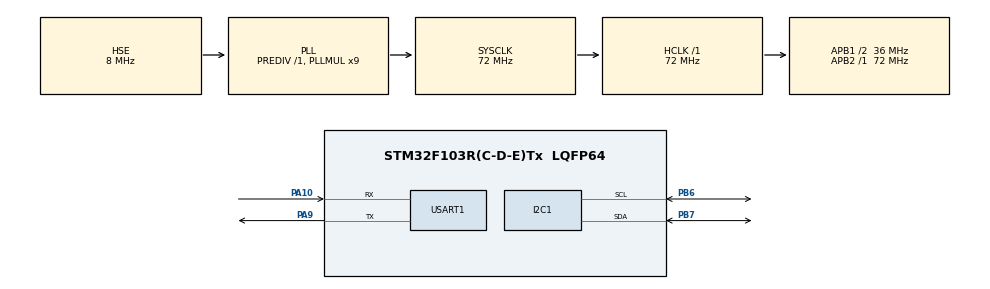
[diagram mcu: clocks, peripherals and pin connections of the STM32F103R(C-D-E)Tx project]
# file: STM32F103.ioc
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Dma.Request0=USART1_RX
Dma.Request1=USART1_TX
Dma.USART1_RX.0.Direction=DMA_PERIPH_TO_MEMORY
Dma.USART1_RX.0.Instance=DMA1_Channel5
Dma.USART1_RX.0.MemDataAlignment=DMA_MDATAALIGN_BYTE
Dma.USART1_RX.0.MemInc=DMA_MINC_ENABLE
Dma.USART1_RX.0.Mode=DMA_NORMAL
Dma.USART1_RX.0.PeriphDataAlignment=DMA_PDATAALIGN_BYTE
Dma.USART1_RX.0.PeriphInc=DMA_PINC_DISABLE
Dma.USART1_RX.0.Priority=DMA_PRIORITY_LOW
Dma.USART1_TX.1.Direction=DMA_MEMORY_TO_PERIPH
Dma.USART1_TX.1.Instance=DMA1_Channel4
Dma.USART1_TX.1.MemDataAlignment=DMA_MDATAALIGN_BYTE
Dma.USART1_TX.1.MemInc=DMA_MINC_ENABLE
Dma.USART1_TX.1.Mode=DMA_NORMAL
Dma.USART1_TX.1.PeriphDataAlignment=DMA_PDATAALIGN_BYTE
Dma.USART1_TX.1.PeriphInc=DMA_PINC_DISABLE
Dma.USART1_TX.1.Priority=DMA_PRIORITY_LOW
I2C1.I2C_Mode=I2C_Fast
I2C1.OwnAddress=0
Mcu.Family=STM32F1
Mcu.Name=STM32F103R(C-D-E)Tx
Mcu.Package=LQFP64
NVIC.DMA1_Channel4_IRQn=true\:0\:0\:false\:false\:true
NVIC.DMA1_Channel5_IRQn=true\:0\:0\:false\:false\:true
NVIC.I2C1_ER_IRQn=true\:0\:0\:false\:false\:true
NVIC.I2C1_EV_IRQn=true\:0\:0\:false\:false\:true
NVIC.PriorityGroup=NVIC_PRIORITYGROUP_4
NVIC.USART1_IRQn=true\:0\:0\:false\:false\:true
PA10.Mode=Asynchronous
PA10.Signal=USART1_RX
PA13.Mode=JTAG_5_pins
PA13.Signal=SYS_JTMS-SWDIO
PA14.Mode=JTAG_5_pins
PA14.Signal=SYS_JTCK-SWCLK
PA15.Mode=JTAG_5_pins
PA15.Signal=SYS_JTDI
PA9.Mode=Asynchronous
PA9.Signal=USART1_TX
PB3.Mode=JTAG_5_pins
PB3.Signal=SYS_JTDO-TRACESWO
PB4.Mode=JTAG_5_pins
PB4.Signal=SYS_NJTRST
PB6.Mode=I2C
PB6.Signal=I2C1_SCL
PB7.Mode=I2C
PB7.Signal=I2C1_SDA
PD0-OSC_IN.Mode=HSE-External-Oscillator
PD0-OSC_IN.Signal=RCC_OSC_IN
PD1-OSC_OUT.Mode=HSE-External-Oscillator
PD1-OSC_OUT.Signal=RCC_OSC_OUT
ProjectManager.HeapSize=0x1000
ProjectManager.StackSize=0x400
ProjectManager.TargetToolchain=MDK-ARM V5
RCC.AHBFreq_Value=72000000
RCC.APB1CLKDivider=RCC_HCLK_DIV2
RCC.APB1Freq_Value=36000000
RCC.APB1TimFreq_Value=72000000
RCC.APB2Freq_Value=72000000
RCC.APB2TimFreq_Value=72000000
RCC.HCLKFreq_Value=72000000
RCC.PLLMUL=RCC_PLL_MUL9
RCC.PLLSourceVirtual=RCC_PLLSOURCE_HSE
RCC.SYSCLKFreq_VALUE=72000000
RCC.SYSCLKSource=RCC_SYSCLKSOURCE_PLLCLK
RCC.USBFreq_Value=72000000
USART1.VirtualMode=VM_ASYNC
VP_RTC_VS_RTC_Activate.Mode=RTC_Enabled
board=STM32F103

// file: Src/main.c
/**
  ******************************************************************************
  * File Name          : main.c
  * Description        : Main program body
  ******************************************************************************
  *
  * COPYRIGHT(c) 2017 STMicroelectronics
  *
  * Redistribution and use in source and binary forms, with or without modification,
  * are permitted provided that the following conditions are met:
  *   1. Redistributions of source code must retain the above copyright notice,
  *      this list of conditions and the following disclaimer.
  *   2. Redistributions in binary form must reproduce the above copyright notice,
  *      this list of conditions and the following disclaimer in the documentation
  *      and/or other materials provided with the distribution.
  *   3. Neither the name of STMicroelectronics nor the names of its contributors
  *      may be used to endorse or promote products derived from this software
  *      without specific prior written permission.
  *
  * THIS SOFTWARE IS PROVIDED BY THE COPYRIGHT HOLDERS AND CONTRIBUTORS "AS IS"
  * AND ANY EXPRESS OR IMPLIED WARRANTIES, INCLUDING, BUT NOT LIMITED TO, THE
  * IMPLIED WARRANTIES OF MERCHANTABILITY AND FITNESS FOR A PARTICULAR PURPOSE ARE
  * DISCLAIMED. IN NO EVENT SHALL THE COPYRIGHT HOLDER OR CONTRIBUTORS BE LIABLE
  * FOR ANY DIRECT, INDIRECT, INCIDENTAL, SPECIAL, EXEMPLARY, OR CONSEQUENTIAL
  * DAMAGES (INCLUDING, BUT NOT LIMITED TO, PROCUREMENT OF SUBSTITUTE GOODS OR
  * SERVICES; LOSS OF USE, DATA, OR PROFITS; OR BUSINESS INTERRUPTION) HOWEVER
  * CAUSED AND ON ANY THEORY OF LIABILITY, WHETHER IN CONTRACT, STRICT LIABILITY,
  * OR TORT (INCLUDING NEGLIGENCE OR OTHERWISE) ARISING IN ANY WAY OUT OF THE USE
  * OF THIS SOFTWARE, EVEN IF ADVISED OF THE POSSIBILITY OF SUCH DAMAGE.
  *
  ******************************************************************************
  */
#include "main.h"
#include "stm32f1xx_hal.h"
#include "dma.h"
#include "i2c.h"
#include "rtc.h"
#include "usart.h"
#include "gpio.h"

/* USER CODE BEGIN Includes */
#include "TaskTimeManager.h"
#include "ProtocolFrame.h"
#include "ComBuff.h"

/* USER CODE END Includes */

/* USER CODE BEGIN PV */
/* Private variables ---------------------------------------------------------*/

/* USER CODE END PV */

void SystemClock_Config(void);
void Error_Handler(void);

/* USER CODE BEGIN PFP */
/* Private function prototypes -----------------------------------------------*/

/* USER CODE END PFP */

/* USER CODE BEGIN 0 */
void LED_TEST(void){
  static uint8_t seq = 0;
  printf("LED_TEST:%d\r\n", seq++);
//	State_P_T state = {0};
	//state.para1 = 32;
	//Protocol_Send(REPORT_STATE, &state, sizeof(State_P_T));
}

/* USER CODE END 0 */

int main(void)
{

  /* MCU Configuration----------------------------------------------------------*/

  /* Reset of all peripherals, Initializes the Flash interface and the Systick. */
  HAL_Init();

  /* Configure the system clock */
  SystemClock_Config();

  /* Initialize all configured peripherals */
  MX_GPIO_Init();
  MX_DMA_Init();
  MX_I2C1_Init();
  MX_USART1_UART_Init();
  MX_RTC_Init();

  /* USER CODE BEGIN 2 */
  TaskTime_Init();
  ProtocolFrame_Init();
  Log_Init();
  ComBuff_Init();

	/*-----------���Ե�������-----------------*/
  TaskTime_Add(TaskID++, TimeCycle(0,500), LED_TEST, Real_Mode);
	/*-----------������������-----------------*/
  TaskTime_Add(TaskID++, TimeCycle(0,30), SenderKeepTransmit, Count_Mode);
	/*-----------Э���������-----------------*/
  TaskTime_Add(TaskID++, TimeCycle(0,30), PaddingProtocol, Real_Mode);
	/*-----------Э��ִ������-----------------*/
	TaskTime_Add(TaskID++, TimeCycle(0,30), FetchProtocols, Real_Mode);
  /* USER CODE END 2 */

  /* Infinite loop */
  while (1)
  {

  /* USER CODE BEGIN 3 */
    TaskTime_Run();
  }
  /* USER CODE END 3 */

}

/** System Clock Configuration
*/
void SystemClock_Config(void)
{

  RCC_OscInitTypeDef RCC_OscInitStruct;
  RCC_ClkInitTypeDef RCC_ClkInitStruct;
  RCC_PeriphCLKInitTypeDef PeriphClkInit;

    /**Initializes the CPU, AHB and APB busses clocks
    */
  RCC_OscInitStruct.OscillatorType = RCC_OSCILLATORTYPE_LSI|RCC_OSCILLATORTYPE_HSE;
  RCC_OscInitStruct.HSEState = RCC_HSE_ON;
  RCC_OscInitStruct.HSEPredivValue = RCC_HSE_PREDIV_DIV1;
  RCC_OscInitStruct.HSIState = RCC_HSI_ON;
  RCC_OscInitStruct.LSIState = RCC_LSI_ON;
  RCC_OscInitStruct.PLL.PLLState = RCC_PLL_ON;
  RCC_OscInitStruct.PLL.PLLSource = RCC_PLLSOURCE_HSE;
  RCC_OscInitStruct.PLL.PLLMUL = RCC_PLL_MUL9;
  if (HAL_RCC_OscConfig(&RCC_OscInitStruct) != HAL_OK)
  {
    Error_Handler();
  }

    /**Initializes the CPU, AHB and APB busses clocks
    */
  RCC_ClkInitStruct.ClockType = RCC_CLOCKTYPE_HCLK|RCC_CLOCKTYPE_SYSCLK
                              |RCC_CLOCKTYPE_PCLK1|RCC_CLOCKTYPE_PCLK2;
  RCC_ClkInitStruct.SYSCLKSource = RCC_SYSCLKSOURCE_PLLCLK;
  RCC_ClkInitStruct.AHBCLKDivider = RCC_SYSCLK_DIV1;
  RCC_ClkInitStruct.APB1CLKDivider = RCC_HCLK_DIV2;
  RCC_ClkInitStruct.APB2CLKDivider = RCC_HCLK_DIV1;

  if (HAL_RCC_ClockConfig(&RCC_ClkInitStruct, FLASH_LATENCY_2) != HAL_OK)
  {
    Error_Handler();
  }

  PeriphClkInit.PeriphClockSelection = RCC_PERIPHCLK_RTC;
  PeriphClkInit.RTCClockSelection = RCC_RTCCLKSOURCE_LSI;
  if (HAL_RCCEx_PeriphCLKConfig(&PeriphClkInit) != HAL_OK)
  {
    Error_Handler();
  }

    /**Configure the Systick interrupt time
    */
  HAL_SYSTICK_Config(HAL_RCC_GetHCLKFreq()/1000);

    /**Configure the Systick
    */
  HAL_SYSTICK_CLKSourceConfig(SYSTICK_CLKSOURCE_HCLK);

  /* SysTick_IRQn interrupt configuration */
  HAL_NVIC_SetPriority(SysTick_IRQn, 0, 0);
}

void Error_Handler(void)
{
  /* USER CODE BEGIN Error_Handler */
  /* User can add his own implementation to report the HAL error return state */
  while(1)
  {
    Log.error("Error_Handler");
  }
  /* USER CODE END Error_Handler */
}

/************************ (C) COPYRIGHT STMicroelectronics *****END OF FILE****/
